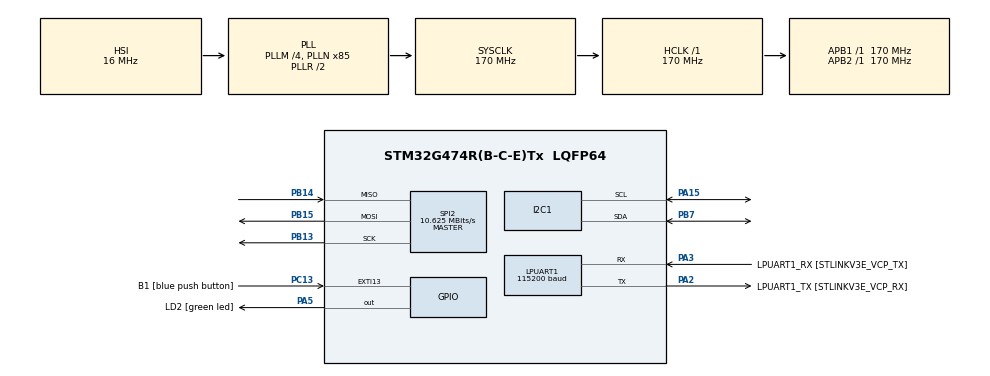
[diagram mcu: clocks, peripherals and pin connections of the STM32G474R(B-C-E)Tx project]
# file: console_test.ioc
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I2C1.Timing=0x30A0A7FB
LPUART1.BaudRate=115200
LPUART1.WordLength=UART_WORDLENGTH_8B
Mcu.Family=STM32G4
Mcu.Name=STM32G474R(B-C-E)Tx
Mcu.Package=LQFP64
NVIC.EXTI15_10_IRQn=true\:0\:0\:false\:false\:true\:true\:true\:true
NVIC.LPUART1_IRQn=true\:0\:0\:false\:false\:true\:true\:true\:true
NVIC.PriorityGroup=NVIC_PRIORITYGROUP_4
PA13.GPIO_Label=T_SWDIO
PA13.Mode=Serial_Wire
PA13.Signal=SYS_JTMS-SWDIO
PA14.GPIO_Label=T_SWCLK
PA14.Mode=Serial_Wire
PA14.Signal=SYS_JTCK-SWCLK
PA15.Mode=I2C
PA15.Signal=I2C1_SCL
PA2.GPIO_Label=LPUART1_TX [STLINKV3E_VCP_RX]
PA2.Mode=Asynchronous
PA2.Signal=LPUART1_TX
PA3.GPIO_Label=LPUART1_RX [STLINKV3E_VCP_TX]
PA3.Mode=Asynchronous
PA3.Signal=LPUART1_RX
PA5.GPIO_Label=LD2 [green led]
PA5.Signal=GPIO_Output
PB13.Mode=Full_Duplex_Master
PB13.Signal=SPI2_SCK
PB14.Mode=Full_Duplex_Master
PB14.Signal=SPI2_MISO
PB15.Mode=Full_Duplex_Master
PB15.Signal=SPI2_MOSI
PB3.GPIO_Label=T_SWO
PB3.Signal=SYS_JTDO-SWO
PB7.Mode=I2C
PB7.Signal=I2C1_SDA
PC13.GPIO_Label=B1 [blue push button]
PC13.Signal=GPXTI13
PC14-OSC32_IN.Mode=LSE-External-Oscillator
PC14-OSC32_IN.Signal=RCC_OSC32_IN
PC15-OSC32_OUT.Mode=LSE-External-Oscillator
PC15-OSC32_OUT.Signal=RCC_OSC32_OUT
PF0-OSC_IN.Mode=HSE-External-Oscillator
PF0-OSC_IN.Signal=RCC_OSC_IN
PF1-OSC_OUT.Mode=HSE-External-Oscillator
PF1-OSC_OUT.Signal=RCC_OSC_OUT
ProjectManager.HeapSize=0x200
ProjectManager.StackSize=0x400
ProjectManager.TargetToolchain=Makefile
RCC.ADC12Freq_Value=170000000
RCC.ADC345Freq_Value=170000000
RCC.AHBFreq_Value=170000000
RCC.APB1Freq_Value=170000000
RCC.APB1TimFreq_Value=170000000
RCC.APB2Freq_Value=170000000
RCC.APB2TimFreq_Value=170000000
RCC.CortexFreq_Value=170000000
RCC.EXTERNAL_CLOCK_VALUE=12288000
RCC.HCLKFreq_Value=170000000
RCC.HSE_VALUE=24000000
RCC.HSI48_VALUE=48000000
RCC.HSI_VALUE=16000000
RCC.PLLM=RCC_PLLM_DIV4
RCC.PLLN=85
RCC.RTCClockSelection=RCC_RTCCLKSOURCE_LSE
RCC.SYSCLKFreq_VALUE=170000000
RCC.SYSCLKSource=RCC_SYSCLKSOURCE_PLLCLK
RCC.USBFreq_Value=170000000
RCC.VCOOutputFreq_Value=340000000
SPI2.BaudRatePrescaler=SPI_BAUDRATEPRESCALER_16
SPI2.CalculateBaudRate=10.625 MBits/s
SPI2.Direction=SPI_DIRECTION_2LINES
SPI2.Mode=SPI_MODE_MASTER
SPI2.VirtualType=VM_MASTER
VP_SYS_VS_DBSignals.Mode=DisableDeadBatterySignals
board=NUCLEO-G474RE

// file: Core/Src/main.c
/* USER CODE BEGIN Header */
/**
  ******************************************************************************
  * @file           : main.c
  * @brief          : Main program body
  ******************************************************************************
  * @attention
  *
  * Copyright (c) 2023 STMicroelectronics.
  * All rights reserved.
  *
  * This software is licensed under terms that can be found in the LICENSE file
  * in the root directory of this software component.
  * If no LICENSE file comes with this software, it is provided AS-IS.
  *
  ******************************************************************************
  */
/* USER CODE END Header */
#include "main.h"

/* USER CODE BEGIN Includes */
#include <string.h>
#include <stdlib.h>
#include <math.h>
#include <stdbool.h>
#include "uart.h"
#include "spi.h"
/* USER CODE END Includes */

/* USER CODE BEGIN PD */

#define DEFAULT_TIMEOUT 100

/* USER CODE END PD */

I2C_HandleTypeDef hi2c1;

UART_HandleTypeDef hlpuart1;

SPI_HandleTypeDef hspi2;

/* USER CODE BEGIN PV */

uint8_t port[] = "\0";
uint8_t pinnum[] = "\0";

uint8_t newline[] = "\n\r";
uint8_t endLine[] = "\r";

uint8_t rxBuffer[3];
bool dataReceived = false; // data received flag
bool dataTransmitted = true; // data transmitted flag

uint8_t commandBuffer[64];
uint8_t charCount; // for commandBuffer

enum Command {NoCommand = 0, WriteFPGA, WriteFlash, ReadFlash, ReadI2C, WriteI2C, ReadSPI, WriteSPI,
	          ReadPin, WritePin, Info} command = NoCommand;

int32_t fpgaDataSize = 0;
uint32_t flashDataSize = 0;
uint32_t flashCurAddr = 0;
uint8_t regAddr = 0;
uint8_t regVal = 0;
uint8_t regReadCount = 1;
bool initDone = false;

/* USER CODE END PV */

void SystemClock_Config(void);
static void MX_GPIO_Init(void);
static void MX_LPUART1_UART_Init(void);
static void MX_I2C1_Init(void);
static void MX_SPI2_Init(void);

/* USER CODE BEGIN 0 */

void processCommand(char *buf, uint32_t len)
{
	static const char updateCmd[] = "update";
	static const char readCmd[] = "read";
	static const char fpgaCmd[] = "fpga";
	static const char readI2C[] = "i2cget";
	static const char writeI2C[] = "i2cset";
	static const char readSPI[] = "spiget";
	static const char writeSPI[] = "spiset";
	static const char readPin[] = "readpin";
	static const char writePin[] = "writepin";
	static const char nmeaCmd[] = "nmea";
	static const char infoCmd[] = "info";
	static const char stopCmd[] = "stop";
	static const char resetCmd[] = "reset";

	char *s = strtok(buf, " ");
	if (s == 0)
		return;
	// update FPGA data command
	if (strcmp(s, updateCmd) == 0)
	{
//		s = strtok(0, " ");
//		if (s)
//		{
//			// save update size to flashDataSize
//			flashDataSize = atoi(s);
//			if (flashDataSize > 0)
//			{
//				command = WriteFlash;
//				switchLeds(flashDataSize % 255);
//				CDC_Transmit_FS((uint8_t*)updateCmd, sizeof(updateCmd));
//				// prepare for data write
//				flashWriteStatus(0x0);
//				flashChipErase();
//				// write data size to flash
//				uint8_t data[3] = {(flashDataSize) & 0xFF, (flashDataSize >> 8) & 0xFF, (flashDataSize >> 16) & 0xFF};
//				flashWriteBlock(data, 0, 3);
//				// skip first 3 bytes containing data size
//				flashCurAddr = 3;
//				flashDataSize += 3;
//			}
//		}
	}
	// read FPGA data command
	else if (strcmp(s, readCmd) == 0)
	{
		command = ReadFlash;
	}
	// write FPGA from PC command
	else if (strcmp(s, fpgaCmd) == 0)
	{
    command = WriteFPGA;
//		s = strtok(0, " ");
//		if (s)
//		{
//			fpgaDataSize = atoi(s);
//			if (fpgaDataSize > 0)
//			{
//				s = strtok(0, " ");
//				if (s)
//				{
//					int mode = atoi(s);
//					switch (mode)
//					{
//					case 1:
//						initDSPLL8_192();
//						fMode = f2048;
//						break;
//					default:
//						initDSPLL();
//						fMode = f10;
//						break;
//					}
//				}
//				switchLeds(0x0);
//				initDone = false;
//				command = WriteFPGA;
//				fpgaWriteStart();
//			}
//		}
	}
	// read I2C register command
	else if (strcmp(s, readI2C) == 0)
	{
		s = strtok(0, " ");
		if (s)
		{
			regAddr = atoi(s);
			command = ReadI2C;
		}
	}
	// write I2C register command
	else if (strcmp(s, writeI2C) == 0)
	{
		s = strtok(0, " ");
		if (s)
		{
			regAddr = atoi(s);
			command = WriteI2C;
			s = strtok(0, " ");
			if (s)
			{
				regVal = atoi(s);
			}
		}
	}
	// read SPI register command
	else if (strcmp(s, readSPI) == 0)
	{
		s = strtok(0, " ");
		if (s)
		{
			regAddr = atoi(s);
			command = ReadSPI;
			s = strtok(0, " ");
			if (s)
				regReadCount = atoi(s);
			else
				regReadCount = 1;
		}
	}
	// write SPI register command
	else if (strcmp(s, writeSPI) == 0)
	{
		s = strtok(0, " ");
		if (s)
		{
			regAddr = atoi(s);
			s = strtok(0, " ");
			if (s)
			{
				regVal = atoi(s);
				command = WriteSPI;
			}
		}
	}
	// read pin state command
	else if (strcmp(s, readPin) == 0)
	{
		s = strtok(0, " ");
		if (s)
		{
			command = ReadPin;
      port[0] = s[1];
      pinnum[0] = s[2];
      if (port[0] == 'A')
      {
        HAL_GPIO_TogglePin(LD2_GPIO_Port, LD2_Pin);
      }
		}
	}
	// write pin value command
	else if (strcmp(s, writePin) == 0)
	{
		s = strtok(0, " ");
		if (s)
		{
			command = WritePin;
      port[0] = s[1];
      pinnum[0] = s[2];
      if (port[0] == 'A')
      {
        HAL_GPIO_TogglePin(LD2_GPIO_Port, LD2_Pin);
      }
		}
	}

	// read nmea command
	else if (strcmp(s, nmeaCmd) == 0)
	{
//		s = strtok(0, " ");
//		if (s)
//		{
//			uartSendIt(uart3, "$POVER*5E\r\n");
//		}
//		else
//		{
//			command = NmeaPrint;
//		}
	}
	// some extra info command
	else if (strcmp(s, infoCmd) == 0)
	{
		command = Info;
	}
	else if (strcmp(s, stopCmd) == 0)
	{
		command = NoCommand;
	}
	else if (strcmp(s, resetCmd) == 0)
	{
		HAL_NVIC_SystemReset();
	}
}

uint8_t readI2C1Reg(uint8_t addr)
{
	uint8_t data = 0;

	HAL_I2C_Master_Transmit(&hi2c1, 0xD0, &addr, 1, HAL_MAX_DELAY);
	HAL_I2C_Master_Receive(&hi2c1, 0xD0, &data, 1, HAL_MAX_DELAY);

	return data;
}

void writeI2C1Reg(uint8_t addr, uint8_t byte)
{
	uint8_t data[] = {addr, byte};
	HAL_I2C_Master_Transmit(&hi2c1, 0xD0, data, sizeof(data), HAL_MAX_DELAY);
}

/* USER CODE END 0 */

int main(void)
{

  /* MCU Configuration--------------------------------------------------------*/

  /* Reset of all peripherals, Initializes the Flash interface and the Systick. */
  HAL_Init();

  /* Configure the system clock */
  SystemClock_Config();

  /* Initialize all configured peripherals */
  MX_GPIO_Init();
  MX_LPUART1_UART_Init();
  MX_I2C1_Init();
  MX_SPI2_Init();

  /* Infinite loop */
  /* USER CODE BEGIN WHILE */

  HAL_UART_Transmit_IT(&hlpuart1, (uint8_t *)newline, sizeof(newline)-1);
  HAL_UART_Receive_IT(&hlpuart1, rxBuffer, 1);

  while (1)
  {
    /* USER CODE END WHILE */

    /* USER CODE BEGIN 3 */
	  // HAL_GPIO_TogglePin(LD2_GPIO_Port, LD2_Pin);
	  HAL_Delay(500);
  }
  /* USER CODE END 3 */
}

void SystemClock_Config(void)
{
  RCC_OscInitTypeDef RCC_OscInitStruct = {0};
  RCC_ClkInitTypeDef RCC_ClkInitStruct = {0};

  /** Configure the main internal regulator output voltage
  */
  HAL_PWREx_ControlVoltageScaling(PWR_REGULATOR_VOLTAGE_SCALE1_BOOST);

  /** Initializes the RCC Oscillators according to the specified parameters
  * in the RCC_OscInitTypeDef structure.
  */
  RCC_OscInitStruct.OscillatorType = RCC_OSCILLATORTYPE_HSI;
  RCC_OscInitStruct.HSIState = RCC_HSI_ON;
  RCC_OscInitStruct.HSICalibrationValue = RCC_HSICALIBRATION_DEFAULT;
  RCC_OscInitStruct.PLL.PLLState = RCC_PLL_ON;
  RCC_OscInitStruct.PLL.PLLSource = RCC_PLLSOURCE_HSI;
  RCC_OscInitStruct.PLL.PLLM = RCC_PLLM_DIV4;
  RCC_OscInitStruct.PLL.PLLN = 85;
  RCC_OscInitStruct.PLL.PLLP = RCC_PLLP_DIV2;
  RCC_OscInitStruct.PLL.PLLQ = RCC_PLLQ_DIV2;
  RCC_OscInitStruct.PLL.PLLR = RCC_PLLR_DIV2;
  if (HAL_RCC_OscConfig(&RCC_OscInitStruct) != HAL_OK)
  {
    Error_Handler();
  }

  /** Initializes the CPU, AHB and APB buses clocks
  */
  RCC_ClkInitStruct.ClockType = RCC_CLOCKTYPE_HCLK|RCC_CLOCKTYPE_SYSCLK
                              |RCC_CLOCKTYPE_PCLK1|RCC_CLOCKTYPE_PCLK2;
  RCC_ClkInitStruct.SYSCLKSource = RCC_SYSCLKSOURCE_PLLCLK;
  RCC_ClkInitStruct.AHBCLKDivider = RCC_SYSCLK_DIV1;
  RCC_ClkInitStruct.APB1CLKDivider = RCC_HCLK_DIV1;
  RCC_ClkInitStruct.APB2CLKDivider = RCC_HCLK_DIV1;

  if (HAL_RCC_ClockConfig(&RCC_ClkInitStruct, FLASH_LATENCY_4) != HAL_OK)
  {
    Error_Handler();
  }
}

static void MX_I2C1_Init(void)
{

  hi2c1.Instance = I2C1;
  hi2c1.Init.Timing = 0x30A0A7FB;
  hi2c1.Init.OwnAddress1 = 0;
  hi2c1.Init.AddressingMode = I2C_ADDRESSINGMODE_7BIT;
  hi2c1.Init.DualAddressMode = I2C_DUALADDRESS_DISABLE;
  hi2c1.Init.OwnAddress2 = 0;
  hi2c1.Init.OwnAddress2Masks = I2C_OA2_NOMASK;
  hi2c1.Init.GeneralCallMode = I2C_GENERALCALL_DISABLE;
  hi2c1.Init.NoStretchMode = I2C_NOSTRETCH_DISABLE;
  if (HAL_I2C_Init(&hi2c1) != HAL_OK)
  {
    Error_Handler();
  }

  /** Configure Analogue filter
  */
  if (HAL_I2CEx_ConfigAnalogFilter(&hi2c1, I2C_ANALOGFILTER_ENABLE) != HAL_OK)
  {
    Error_Handler();
  }

  /** Configure Digital filter
  */
  if (HAL_I2CEx_ConfigDigitalFilter(&hi2c1, 0) != HAL_OK)
  {
    Error_Handler();
  }

}

static void MX_LPUART1_UART_Init(void)
{

  hlpuart1.Instance = LPUART1;
  hlpuart1.Init.BaudRate = 115200;
  hlpuart1.Init.WordLength = UART_WORDLENGTH_8B;
  hlpuart1.Init.StopBits = UART_STOPBITS_1;
  hlpuart1.Init.Parity = UART_PARITY_NONE;
  hlpuart1.Init.Mode = UART_MODE_TX_RX;
  hlpuart1.Init.HwFlowCtl = UART_HWCONTROL_NONE;
  hlpuart1.Init.OneBitSampling = UART_ONE_BIT_SAMPLE_DISABLE;
  hlpuart1.Init.ClockPrescaler = UART_PRESCALER_DIV1;
  hlpuart1.AdvancedInit.AdvFeatureInit = UART_ADVFEATURE_NO_INIT;
  if (HAL_UART_Init(&hlpuart1) != HAL_OK)
  {
    Error_Handler();
  }
  if (HAL_UARTEx_SetTxFifoThreshold(&hlpuart1, UART_TXFIFO_THRESHOLD_1_8) != HAL_OK)
  {
    Error_Handler();
  }
  if (HAL_UARTEx_SetRxFifoThreshold(&hlpuart1, UART_RXFIFO_THRESHOLD_1_8) != HAL_OK)
  {
    Error_Handler();
  }
  if (HAL_UARTEx_DisableFifoMode(&hlpuart1) != HAL_OK)
  {
    Error_Handler();
  }

}

static void MX_SPI2_Init(void)
{

  /* SPI2 parameter configuration*/
  hspi2.Instance = SPI2;
  hspi2.Init.Mode = SPI_MODE_MASTER;
  hspi2.Init.Direction = SPI_DIRECTION_2LINES;
  hspi2.Init.DataSize = SPI_DATASIZE_4BIT;
  hspi2.Init.CLKPolarity = SPI_POLARITY_LOW;
  hspi2.Init.CLKPhase = SPI_PHASE_1EDGE;
  hspi2.Init.NSS = SPI_NSS_SOFT;
  hspi2.Init.BaudRatePrescaler = SPI_BAUDRATEPRESCALER_16;
  hspi2.Init.FirstBit = SPI_FIRSTBIT_MSB;
  hspi2.Init.TIMode = SPI_TIMODE_DISABLE;
  hspi2.Init.CRCCalculation = SPI_CRCCALCULATION_DISABLE;
  hspi2.Init.CRCPolynomial = 7;
  hspi2.Init.CRCLength = SPI_CRC_LENGTH_DATASIZE;
  hspi2.Init.NSSPMode = SPI_NSS_PULSE_ENABLE;
  if (HAL_SPI_Init(&hspi2) != HAL_OK)
  {
    Error_Handler();
  }

}

static void MX_GPIO_Init(void)
{
  GPIO_InitTypeDef GPIO_InitStruct = {0};

  /* GPIO Ports Clock Enable */
  __HAL_RCC_GPIOC_CLK_ENABLE();
  __HAL_RCC_GPIOF_CLK_ENABLE();
  __HAL_RCC_GPIOA_CLK_ENABLE();
  __HAL_RCC_GPIOB_CLK_ENABLE();

  /*Configure GPIO pin Output Level */
  HAL_GPIO_WritePin(LD2_GPIO_Port, LD2_Pin, GPIO_PIN_RESET);

  /*Configure GPIO pin : B1_Pin */
  GPIO_InitStruct.Pin = B1_Pin;
  GPIO_InitStruct.Mode = GPIO_MODE_IT_RISING;
  GPIO_InitStruct.Pull = GPIO_NOPULL;
  HAL_GPIO_Init(B1_GPIO_Port, &GPIO_InitStruct);

  /*Configure GPIO pin : LD2_Pin */
  GPIO_InitStruct.Pin = LD2_Pin;
  GPIO_InitStruct.Mode = GPIO_MODE_OUTPUT_PP;
  GPIO_InitStruct.Pull = GPIO_NOPULL;
  GPIO_InitStruct.Speed = GPIO_SPEED_FREQ_LOW;
  HAL_GPIO_Init(LD2_GPIO_Port, &GPIO_InitStruct);

  /* EXTI interrupt init*/
  HAL_NVIC_SetPriority(EXTI15_10_IRQn, 0, 0);
  HAL_NVIC_EnableIRQ(EXTI15_10_IRQn);

}

/* USER CODE BEGIN 4 */

void HAL_UART_RxCpltCallback(UART_HandleTypeDef *huart) {

  if(huart == &hlpuart1) {

    dataReceived = true;
    while (huart->RxState != HAL_UART_STATE_READY) { }
    HAL_UART_Receive_IT(huart, rxBuffer, 1);
    if (rxBuffer[0] == endLine[0]) {
    	processCommand((char*)commandBuffer, 100);

    	while (huart->gState != HAL_UART_STATE_READY) { }
    	HAL_UART_Transmit(huart, (uint8_t *)newline, sizeof(newline)-1, DEFAULT_TIMEOUT);
    	strncpy((char*)commandBuffer, "", sizeof(commandBuffer));
    	charCount = 0;
    	while (huart->gState != HAL_UART_STATE_READY) { }
    	HAL_UART_Transmit(huart, (uint8_t *)newline, sizeof(newline)-1, DEFAULT_TIMEOUT);
    }
    else {
    	commandBuffer[charCount] = rxBuffer[0];
    	charCount += 1;
    }

    if (dataTransmitted) {
    	while (huart->gState != HAL_UART_STATE_READY) { }
    	HAL_UART_Transmit_IT(huart, rxBuffer, 1);
    	dataReceived = false;
    	dataTransmitted = false;
    }
  }
}

void HAL_UART_TxCpltCallback(UART_HandleTypeDef *huart) {

  if(huart == &hlpuart1) {

    dataTransmitted = true;

    if (dataReceived) {
      while (huart->gState != HAL_UART_STATE_READY) { }
      HAL_UART_Transmit_IT(huart, rxBuffer, 1);
      dataReceived = false;
      dataTransmitted = false;
    }
  }
}

/**
  * @brief  UART error callbacks
  * @param  UartHandle: UART handle
  * @note   This example shows a simple way to report transfer error, and you can
  *         add your own implementation.
  * @retval None
  */
void HAL_UART_ErrorCallback(UART_HandleTypeDef *UartHandle)
{

}

/* USER CODE END 4 */

void Error_Handler(void)
{
  __disable_irq();
  while (1)
  {
  }
}
